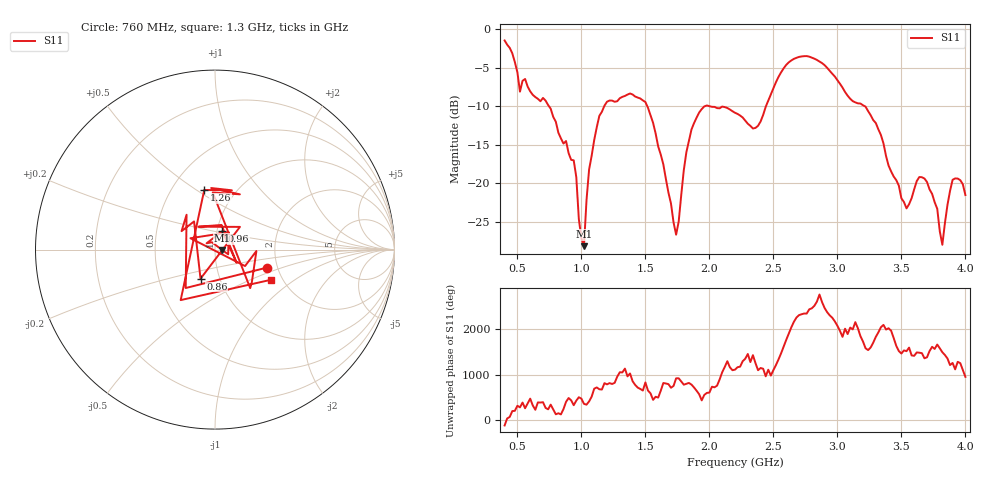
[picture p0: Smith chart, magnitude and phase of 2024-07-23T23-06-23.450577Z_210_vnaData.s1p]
!Created with skrf (http://scikit-rf.org).
# Hz S RI R 50.0
!freq ReS11 ImS11
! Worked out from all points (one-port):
!   181 points, 400 MHz to 4 GHz, reference 50 ohm
!   lowest |S11| = -28.1 dB at 1.02 GHz (marker M1), VSWR 1.08, Z = 54.1 - j0.169 ohm
!   |S11| at or under -10 dB: 1.514 GHz to 1.966 GHz (451.4 MHz wide, 25.9 % of centre); 1.999 GHz to 2.442 GHz (443.5 MHz wide, 20 % of centre); 3.213 GHz to end of sweep (the widest 3 of 4)
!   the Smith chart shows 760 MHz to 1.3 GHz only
!   S11 on the Smith chart (normalised r, x): 760 MHz: 1.75, -0.39; 860 MHz: 0.81, -0.27; 960 MHz: 1.06, +0.22; 1.26 GHz: 0.72, +0.54; 1.3 GHz: 1.75, -0.67
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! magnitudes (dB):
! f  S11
! 400 MHz  -1.5
! 520 MHz  -8.1
! 760 MHz  -10.3
! 860 MHz  -14.8
! 960 MHz  -19.2
! 980 MHz  -24.6
! 1.02 GHz  -28.1
! 1.06 GHz  -18.2
! 1.12 GHz  -12.7
! 1.26 GHz  -9.4
! 1.3 GHz  -9.0
! 1.5 GHz  -9.5
! 1.74 GHz  -26.6
! 1.76 GHz  -25.0
! 1.82 GHz  -16.0
! 1.92 GHz  -10.8
! 2.2 GHz  -10.9
! 2.38 GHz  -12.5
! 2.66 GHz  -3.9
! 2.88 GHz  -4.4
! 3.1 GHz  -9.0
! 3.3 GHz  -12.2
! 3.56 GHz  -22.7
! 3.68 GHz  -19.4
! 3.78 GHz  -23.3
! 3.82 GHz  -27.9
! 3.9 GHz  -19.5
! 4 GHz  -21.5
